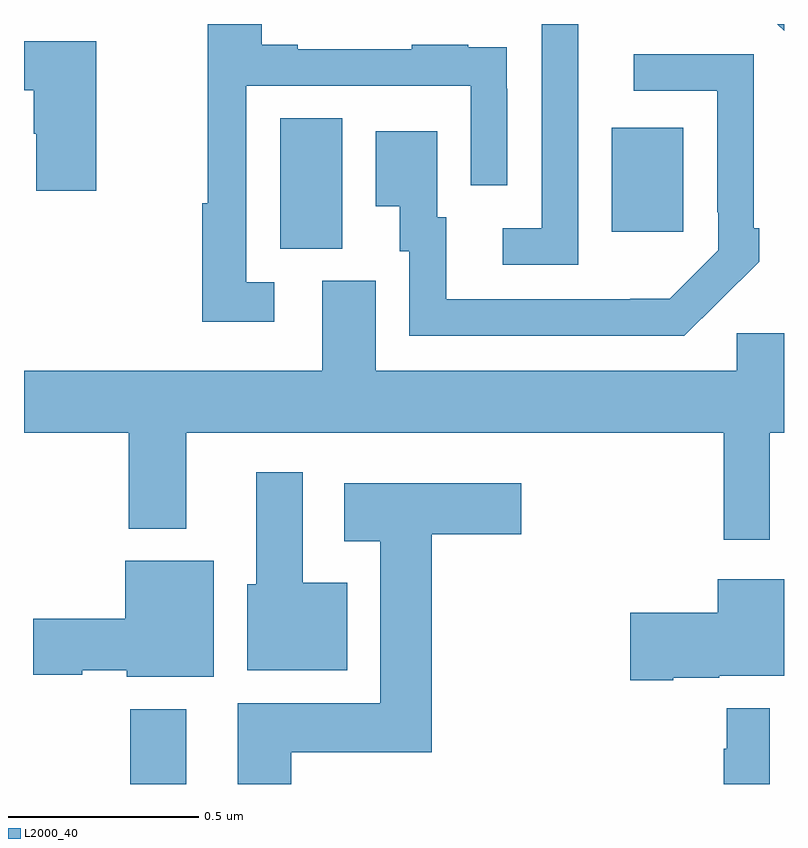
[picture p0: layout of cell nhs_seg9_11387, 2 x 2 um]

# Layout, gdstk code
import gdstk
lib = gdstk.Library(unit=1e-6, precision=1e-09)
def R(c, l, rs):  # rectangles x0, y0, x1, y1
    for r in rs: c.add(gdstk.rectangle(r[:2], r[2:], *l))
def P(c, l, *ps):  # polygons
    for p in ps: c.add(gdstk.Polygon(p, *l))
L2000_40 = (2000, 40)

nhs_seg9_11387 = lib.new_cell('nhs_seg9_11387')
R(nhs_seg9_11387, L2000_40, [(255.28,1191.5,255.427,1191.697), (255.674,1192.909,255.838,1193.252), (256.547,1192.953,256.735,1193.227)])
P(nhs_seg9_11387, L2000_40, [(256.458,1193.323),(256.459,1193.323),(256.459,1193.5),(256.362,1193.5),(256.362,1192.962),(256.26,1192.962),(256.26,1192.866),(256.458,1192.866)],
  [(257,1193.5),(256.982,1193.5),(257,1193.482)],
  [(255.658,1192.821),(255.585,1192.821),(255.585,1193.337),(256.176,1193.337),(256.176,1193.076),(256.272,1193.076),(256.272,1193.33),(256.271,1193.33),(256.271,1193.439),(256.169,1193.439),(256.169,1193.446),(256.021,1193.446),(256.021,1193.433),(255.721,1193.433),(255.721,1193.446),(255.625,1193.446),(255.625,1193.5),(255.484,1193.5),(255.484,1193.028),(255.469,1193.028),(255.469,1192.716),(255.658,1192.716)],
  [(255.19,1193.455),(255,1193.455),(255,1193.326),(255.025,1193.326),(255.025,1193.211),(255.032,1193.211),(255.032,1193.061),(255.19,1193.061)],
  [(256.829,1192.771),(256.83,1192.77),(256.935,1192.875),(256.935,1192.963),(256.92,1192.963),(256.92,1193.421),(256.605,1193.421),(256.605,1193.325),(256.824,1193.325),(256.824,1193.005),(256.827,1193.005),(256.827,1192.905),(256.699,1192.777),(256.595,1192.777),(256.595,1192.776),(256.111,1192.776),(256.111,1192.992),(256.087,1192.992),(256.087,1193.218),(255.926,1193.218),(255.926,1193.021),(255.989,1193.021),(255.989,1192.902),(256.014,1192.902),(256.014,1192.68),(256.738,1192.68)],
  [(255.925,1192.824),(255.785,1192.824),(255.785,1192.588),(255,1192.588),(255,1192.424),(255.275,1192.424),(255.275,1192.172),(255.427,1192.172),(255.427,1192.424),(256.842,1192.424),(256.842,1192.143),(256.963,1192.143),(256.963,1192.424),(257,1192.424),(257,1192.686),(256.875,1192.686),(256.875,1192.588),(255.925,1192.588)],
  [(255.85,1192.03),(255.733,1192.03),(255.733,1192.321),(255.611,1192.321),(255.611,1192.026),(255.587,1192.026),(255.587,1191.8),(255.85,1191.8)],
  [(255.703,1191.584),(256.073,1191.584),(256.073,1192.157),(256.309,1192.157),(256.309,1192.291),(255.843,1192.291),(255.843,1192.139),(255.938,1192.139),(255.938,1191.712),(255.563,1191.712),(255.563,1191.5),(255.703,1191.5)],
  [(255.499,1192.087),(255.266,1192.087),(255.266,1191.935),(255.024,1191.935),(255.024,1191.788),(255.153,1191.788),(255.153,1191.8),(255.27,1191.8),(255.27,1191.782),(255.499,1191.782)],
  [(256.708,1191.779),(256.83,1191.779),(256.83,1191.785),(257,1191.785),(257,1192.039),(256.826,1192.039),(256.826,1191.951),(256.596,1191.951),(256.596,1191.773),(256.708,1191.773)],
  [(256.963,1191.7),(256.849,1191.7),(256.849,1191.593),(256.842,1191.593),(256.842,1191.5),(256.963,1191.5)])

lib.write_gds('nhs_seg9_11387.gds')
